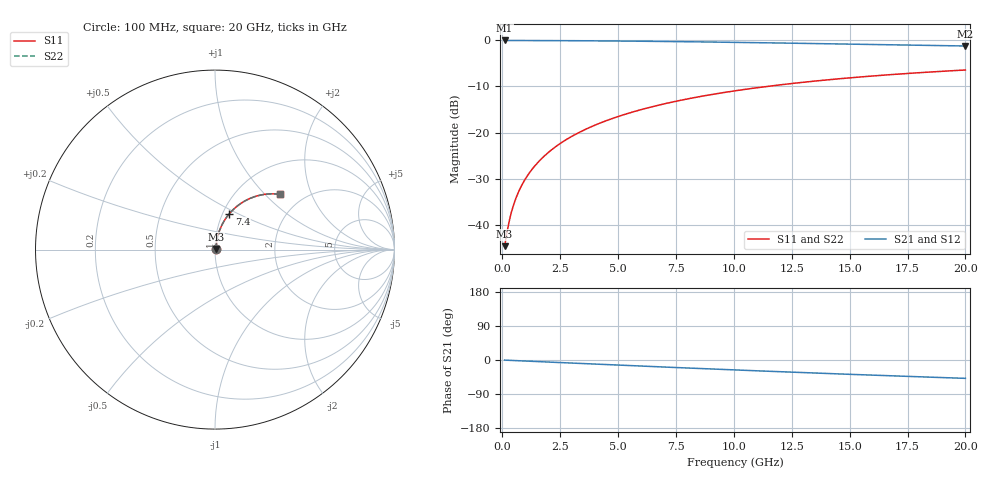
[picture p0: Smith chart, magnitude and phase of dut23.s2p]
! Touchstone file exported from HFSS 2026.1.0
!  File:  C:/ffzhzh/LocalFiles/Ansys_Project_Files/temp_train_BSMRDL_23_1782882080_46784.aedt
!  Generated:  01:02:32 PM Jul  1, 2026
!  Design:  BSMRDL
!  Project:  temp_train_BSMRDL_23_1782882080_46784
! Variables:
!  h_bsmrdl = 2.6um
!  h_ox = 20um
!  h_rdl = 5um
!  h_sub = 80um
!  h_tmrdl = 5um
!  h_tsv = 80um
!  h_via = 3um
!  l_bsmrdl = 683.76um
!  l_sub = 1083.76um
!  l_tmrdl = 200um
!  m_sub = 200um
!  pitch = 51.6um
!  r_tsv = 6um
!  s_tmrdl = 10um
!  w_bsmrdl = 19.71um
!  w_sub = 500um
!  w_tmrdl = 12um
!  x_tsv_center1 = 206um
!  x_tsv_center2 = 909.47um
!  x_tsv_center3 = 1121.47um
!  x_tsv_center4 = 1824.94um
!  x_tsv_center5 = 2036.94um
!  x_tsv_center6 = 2740.41um
# GHz S MA R 50.000000
! Terminal data exported
! Port[1] = BSM_RDL1_1_T1
! Port[2] = BSM_RDL1_1_T2
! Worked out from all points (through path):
!   200 points, 100 MHz to 20 GHz, reference 50 ohm
!   highest |S21| = -0.04 dB at 100 MHz (marker M1); lowest = -1.2 dB at 20 GHz (marker M2)
!   group delay of S21, straight-line fit = 6.74 ps
!   lowest |S11| = -44.5 dB at 100 MHz (marker M3), VSWR 1.01, Z = 50.5 + j0.331 ohm
!   |S11| at or under -10 dB: start of sweep to 11.42 GHz
!   |S22| runs from -44.5 to -6.4 dB; largest |S21 - S12| = 3.5e-15
!   S11 on the Smith chart (normalised r, x): 100 MHz: 1.01, +0.01; 7.4 GHz: 1.08, +0.45; 20 GHz: 1.55, +1.23
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0.1  0.005923 33.6  0.9951 -0.3  0.9951 -0.3  0.005923 33.6
! Gamma 0 0 0 0
! Port Impedance 50 0 50 0
0.2  0.008278 52.0  0.9949 -0.6  0.9949 -0.6  0.008278 52.0
0.3  0.01107 61.2  0.9948 -0.8  0.9948 -0.8  0.01107 61.2
0.4  0.01399 66.3  0.9946 -1.1  0.9946 -1.1  0.01399 66.3
0.5  0.01694 69.6  0.9943 -1.4  0.9943 -1.4  0.01694 69.6
0.6  0.0199 71.8  0.9941 -1.7  0.9941 -1.7  0.0199 71.8
0.8  0.02581 74.6  0.9938 -2.2  0.9938 -2.2  0.02581 74.6
1.1  0.03469 76.8  0.9933 -3.0  0.9933 -3.0  0.03469 76.8
1.3  0.04063 77.6  0.993 -3.5  0.993 -3.5  0.04063 77.6
1.6  0.04956 78.3  0.9924 -4.4  0.9924 -4.4  0.04956 78.3
2.1  0.06447 78.5  0.9914 -5.7  0.9914 -5.7  0.06447 78.5
2.7  0.08234 78.0  0.9899 -7.3  0.9899 -7.3  0.08234 78.0
3.5  0.106 76.8  0.9875 -9.4  0.9875 -9.4  0.106 76.8
4.2  0.1265 75.5  0.9848 -11.3  0.9848 -11.3  0.1265 75.5
5  0.1496 73.7  0.9813 -13.4  0.9813 -13.4  0.1496 73.7
6.8  0.1999 69.6  0.9716 -18.1  0.9716 -18.1  0.1999 69.6
7.4  0.2161 68.1  0.9679 -19.6  0.9679 -19.6  0.2161 68.1
8.7  0.2502 65.0  0.9592 -22.9  0.9592 -22.9  0.2502 65.0
10.1  0.2851 61.7  0.9489 -26.4  0.9489 -26.4  0.2851 61.7
13.4  0.3598 54.1  0.9222 -34.2  0.9222 -34.2  0.3598 54.1
16.7  0.4235 46.9  0.8942 -41.5  0.8942 -41.5  0.4235 46.9
20  0.4767 40.2  0.8668 -48.4  0.8668 -48.4  0.4767 40.1
